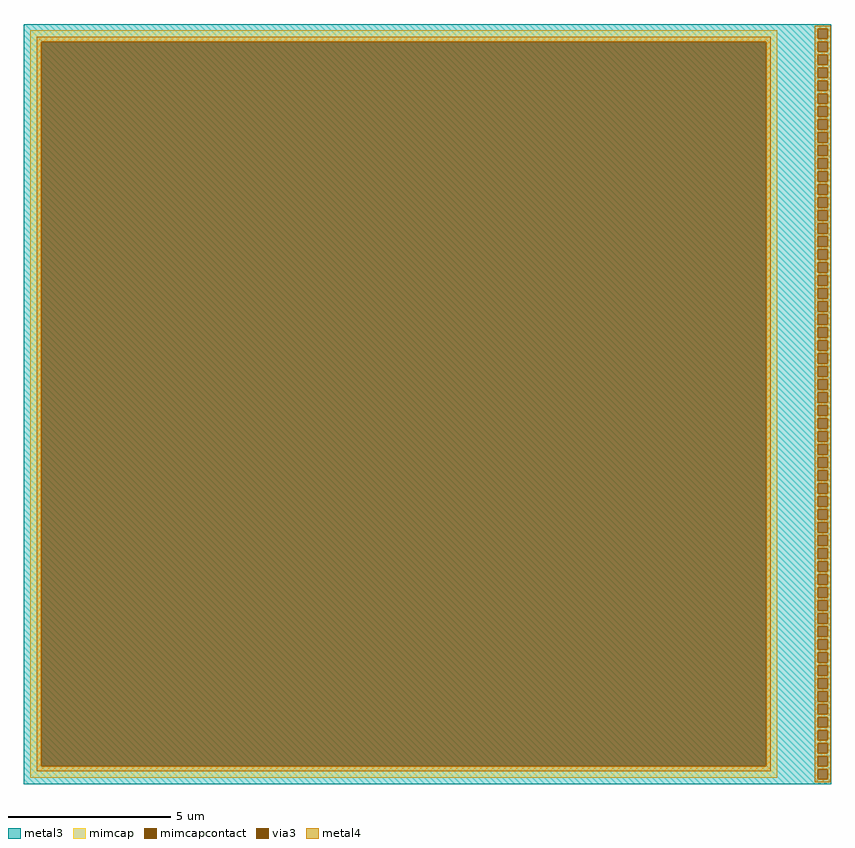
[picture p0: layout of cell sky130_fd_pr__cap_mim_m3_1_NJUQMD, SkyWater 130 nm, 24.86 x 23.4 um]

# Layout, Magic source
magic
tech sky130A
magscale 1 2
<< metal3 >>
rect -2486 2312 2486 2340
rect -2486 2248 2402 2312
rect 2466 2248 2486 2312
rect -2486 2232 2486 2248
rect -2486 2168 2402 2232
rect 2466 2168 2486 2232
rect -2486 2152 2486 2168
rect -2486 2088 2402 2152
rect 2466 2088 2486 2152
rect -2486 2072 2486 2088
rect -2486 2008 2402 2072
rect 2466 2008 2486 2072
rect -2486 1992 2486 2008
rect -2486 1928 2402 1992
rect 2466 1928 2486 1992
rect -2486 1912 2486 1928
rect -2486 1848 2402 1912
rect 2466 1848 2486 1912
rect -2486 1832 2486 1848
rect -2486 1768 2402 1832
rect 2466 1768 2486 1832
rect -2486 1752 2486 1768
rect -2486 1688 2402 1752
rect 2466 1688 2486 1752
rect -2486 1672 2486 1688
rect -2486 1608 2402 1672
rect 2466 1608 2486 1672
rect -2486 1592 2486 1608
rect -2486 1528 2402 1592
rect 2466 1528 2486 1592
rect -2486 1512 2486 1528
rect -2486 1448 2402 1512
rect 2466 1448 2486 1512
rect -2486 1432 2486 1448
rect -2486 1368 2402 1432
rect 2466 1368 2486 1432
rect -2486 1352 2486 1368
rect -2486 1288 2402 1352
rect 2466 1288 2486 1352
rect -2486 1272 2486 1288
rect -2486 1208 2402 1272
rect 2466 1208 2486 1272
rect -2486 1192 2486 1208
rect -2486 1128 2402 1192
rect 2466 1128 2486 1192
rect -2486 1112 2486 1128
rect -2486 1048 2402 1112
rect 2466 1048 2486 1112
rect -2486 1032 2486 1048
rect -2486 968 2402 1032
rect 2466 968 2486 1032
rect -2486 952 2486 968
rect -2486 888 2402 952
rect 2466 888 2486 952
rect -2486 872 2486 888
rect -2486 808 2402 872
rect 2466 808 2486 872
rect -2486 792 2486 808
rect -2486 728 2402 792
rect 2466 728 2486 792
rect -2486 712 2486 728
rect -2486 648 2402 712
rect 2466 648 2486 712
rect -2486 632 2486 648
rect -2486 568 2402 632
rect 2466 568 2486 632
rect -2486 552 2486 568
rect -2486 488 2402 552
rect 2466 488 2486 552
rect -2486 472 2486 488
rect -2486 408 2402 472
rect 2466 408 2486 472
rect -2486 392 2486 408
rect -2486 328 2402 392
rect 2466 328 2486 392
rect -2486 312 2486 328
rect -2486 248 2402 312
rect 2466 248 2486 312
rect -2486 232 2486 248
rect -2486 168 2402 232
rect 2466 168 2486 232
rect -2486 152 2486 168
rect -2486 88 2402 152
rect 2466 88 2486 152
rect -2486 72 2486 88
rect -2486 8 2402 72
rect 2466 8 2486 72
rect -2486 -8 2486 8
rect -2486 -72 2402 -8
rect 2466 -72 2486 -8
rect -2486 -88 2486 -72
rect -2486 -152 2402 -88
rect 2466 -152 2486 -88
rect -2486 -168 2486 -152
rect -2486 -232 2402 -168
rect 2466 -232 2486 -168
rect -2486 -248 2486 -232
rect -2486 -312 2402 -248
rect 2466 -312 2486 -248
rect -2486 -328 2486 -312
rect -2486 -392 2402 -328
rect 2466 -392 2486 -328
rect -2486 -408 2486 -392
rect -2486 -472 2402 -408
rect 2466 -472 2486 -408
rect -2486 -488 2486 -472
rect -2486 -552 2402 -488
rect 2466 -552 2486 -488
rect -2486 -568 2486 -552
rect -2486 -632 2402 -568
rect 2466 -632 2486 -568
rect -2486 -648 2486 -632
rect -2486 -712 2402 -648
rect 2466 -712 2486 -648
rect -2486 -728 2486 -712
rect -2486 -792 2402 -728
rect 2466 -792 2486 -728
rect -2486 -808 2486 -792
rect -2486 -872 2402 -808
rect 2466 -872 2486 -808
rect -2486 -888 2486 -872
rect -2486 -952 2402 -888
rect 2466 -952 2486 -888
rect -2486 -968 2486 -952
rect -2486 -1032 2402 -968
rect 2466 -1032 2486 -968
rect -2486 -1048 2486 -1032
rect -2486 -1112 2402 -1048
rect 2466 -1112 2486 -1048
rect -2486 -1128 2486 -1112
rect -2486 -1192 2402 -1128
rect 2466 -1192 2486 -1128
rect -2486 -1208 2486 -1192
rect -2486 -1272 2402 -1208
rect 2466 -1272 2486 -1208
rect -2486 -1288 2486 -1272
rect -2486 -1352 2402 -1288
rect 2466 -1352 2486 -1288
rect -2486 -1368 2486 -1352
rect -2486 -1432 2402 -1368
rect 2466 -1432 2486 -1368
rect -2486 -1448 2486 -1432
rect -2486 -1512 2402 -1448
rect 2466 -1512 2486 -1448
rect -2486 -1528 2486 -1512
rect -2486 -1592 2402 -1528
rect 2466 -1592 2486 -1528
rect -2486 -1608 2486 -1592
rect -2486 -1672 2402 -1608
rect 2466 -1672 2486 -1608
rect -2486 -1688 2486 -1672
rect -2486 -1752 2402 -1688
rect 2466 -1752 2486 -1688
rect -2486 -1768 2486 -1752
rect -2486 -1832 2402 -1768
rect 2466 -1832 2486 -1768
rect -2486 -1848 2486 -1832
rect -2486 -1912 2402 -1848
rect 2466 -1912 2486 -1848
rect -2486 -1928 2486 -1912
rect -2486 -1992 2402 -1928
rect 2466 -1992 2486 -1928
rect -2486 -2008 2486 -1992
rect -2486 -2072 2402 -2008
rect 2466 -2072 2486 -2008
rect -2486 -2088 2486 -2072
rect -2486 -2152 2402 -2088
rect 2466 -2152 2486 -2088
rect -2486 -2168 2486 -2152
rect -2486 -2232 2402 -2168
rect 2466 -2232 2486 -2168
rect -2486 -2248 2486 -2232
rect -2486 -2312 2402 -2248
rect 2466 -2312 2486 -2248
rect -2486 -2340 2486 -2312
<< via3 >>
rect 2402 2248 2466 2312
rect 2402 2168 2466 2232
rect 2402 2088 2466 2152
rect 2402 2008 2466 2072
rect 2402 1928 2466 1992
rect 2402 1848 2466 1912
rect 2402 1768 2466 1832
rect 2402 1688 2466 1752
rect 2402 1608 2466 1672
rect 2402 1528 2466 1592
rect 2402 1448 2466 1512
rect 2402 1368 2466 1432
rect 2402 1288 2466 1352
rect 2402 1208 2466 1272
rect 2402 1128 2466 1192
rect 2402 1048 2466 1112
rect 2402 968 2466 1032
rect 2402 888 2466 952
rect 2402 808 2466 872
rect 2402 728 2466 792
rect 2402 648 2466 712
rect 2402 568 2466 632
rect 2402 488 2466 552
rect 2402 408 2466 472
rect 2402 328 2466 392
rect 2402 248 2466 312
rect 2402 168 2466 232
rect 2402 88 2466 152
rect 2402 8 2466 72
rect 2402 -72 2466 -8
rect 2402 -152 2466 -88
rect 2402 -232 2466 -168
rect 2402 -312 2466 -248
rect 2402 -392 2466 -328
rect 2402 -472 2466 -408
rect 2402 -552 2466 -488
rect 2402 -632 2466 -568
rect 2402 -712 2466 -648
rect 2402 -792 2466 -728
rect 2402 -872 2466 -808
rect 2402 -952 2466 -888
rect 2402 -1032 2466 -968
rect 2402 -1112 2466 -1048
rect 2402 -1192 2466 -1128
rect 2402 -1272 2466 -1208
rect 2402 -1352 2466 -1288
rect 2402 -1432 2466 -1368
rect 2402 -1512 2466 -1448
rect 2402 -1592 2466 -1528
rect 2402 -1672 2466 -1608
rect 2402 -1752 2466 -1688
rect 2402 -1832 2466 -1768
rect 2402 -1912 2466 -1848
rect 2402 -1992 2466 -1928
rect 2402 -2072 2466 -2008
rect 2402 -2152 2466 -2088
rect 2402 -2232 2466 -2168
rect 2402 -2312 2466 -2248
<< mimcap >>
rect -2446 2232 2154 2300
rect -2446 -2232 -2378 2232
rect 2086 -2232 2154 2232
rect -2446 -2300 2154 -2232
<< mimcapcontact >>
rect -2378 -2232 2086 2232
<< metal4 >>
rect 2386 2312 2482 2328
rect -2407 2232 2115 2261
rect -2407 -2232 -2378 2232
rect 2086 -2232 2115 2232
rect -2407 -2261 2115 -2232
rect 2386 2248 2402 2312
rect 2466 2248 2482 2312
rect 2386 2232 2482 2248
rect 2386 2168 2402 2232
rect 2466 2168 2482 2232
rect 2386 2152 2482 2168
rect 2386 2088 2402 2152
rect 2466 2088 2482 2152
rect 2386 2072 2482 2088
rect 2386 2008 2402 2072
rect 2466 2008 2482 2072
rect 2386 1992 2482 2008
rect 2386 1928 2402 1992
rect 2466 1928 2482 1992
rect 2386 1912 2482 1928
rect 2386 1848 2402 1912
rect 2466 1848 2482 1912
rect 2386 1832 2482 1848
rect 2386 1768 2402 1832
rect 2466 1768 2482 1832
rect 2386 1752 2482 1768
rect 2386 1688 2402 1752
rect 2466 1688 2482 1752
rect 2386 1672 2482 1688
rect 2386 1608 2402 1672
rect 2466 1608 2482 1672
rect 2386 1592 2482 1608
rect 2386 1528 2402 1592
rect 2466 1528 2482 1592
rect 2386 1512 2482 1528
rect 2386 1448 2402 1512
rect 2466 1448 2482 1512
rect 2386 1432 2482 1448
rect 2386 1368 2402 1432
rect 2466 1368 2482 1432
rect 2386 1352 2482 1368
rect 2386 1288 2402 1352
rect 2466 1288 2482 1352
rect 2386 1272 2482 1288
rect 2386 1208 2402 1272
rect 2466 1208 2482 1272
rect 2386 1192 2482 1208
rect 2386 1128 2402 1192
rect 2466 1128 2482 1192
rect 2386 1112 2482 1128
rect 2386 1048 2402 1112
rect 2466 1048 2482 1112
rect 2386 1032 2482 1048
rect 2386 968 2402 1032
rect 2466 968 2482 1032
rect 2386 952 2482 968
rect 2386 888 2402 952
rect 2466 888 2482 952
rect 2386 872 2482 888
rect 2386 808 2402 872
rect 2466 808 2482 872
rect 2386 792 2482 808
rect 2386 728 2402 792
rect 2466 728 2482 792
rect 2386 712 2482 728
rect 2386 648 2402 712
rect 2466 648 2482 712
rect 2386 632 2482 648
rect 2386 568 2402 632
rect 2466 568 2482 632
rect 2386 552 2482 568
rect 2386 488 2402 552
rect 2466 488 2482 552
rect 2386 472 2482 488
rect 2386 408 2402 472
rect 2466 408 2482 472
rect 2386 392 2482 408
rect 2386 328 2402 392
rect 2466 328 2482 392
rect 2386 312 2482 328
rect 2386 248 2402 312
rect 2466 248 2482 312
rect 2386 232 2482 248
rect 2386 168 2402 232
rect 2466 168 2482 232
rect 2386 152 2482 168
rect 2386 88 2402 152
rect 2466 88 2482 152
rect 2386 72 2482 88
rect 2386 8 2402 72
rect 2466 8 2482 72
rect 2386 -8 2482 8
rect 2386 -72 2402 -8
rect 2466 -72 2482 -8
rect 2386 -88 2482 -72
rect 2386 -152 2402 -88
rect 2466 -152 2482 -88
rect 2386 -168 2482 -152
rect 2386 -232 2402 -168
rect 2466 -232 2482 -168
rect 2386 -248 2482 -232
rect 2386 -312 2402 -248
rect 2466 -312 2482 -248
rect 2386 -328 2482 -312
rect 2386 -392 2402 -328
rect 2466 -392 2482 -328
rect 2386 -408 2482 -392
rect 2386 -472 2402 -408
rect 2466 -472 2482 -408
rect 2386 -488 2482 -472
rect 2386 -552 2402 -488
rect 2466 -552 2482 -488
rect 2386 -568 2482 -552
rect 2386 -632 2402 -568
rect 2466 -632 2482 -568
rect 2386 -648 2482 -632
rect 2386 -712 2402 -648
rect 2466 -712 2482 -648
rect 2386 -728 2482 -712
rect 2386 -792 2402 -728
rect 2466 -792 2482 -728
rect 2386 -808 2482 -792
rect 2386 -872 2402 -808
rect 2466 -872 2482 -808
rect 2386 -888 2482 -872
rect 2386 -952 2402 -888
rect 2466 -952 2482 -888
rect 2386 -968 2482 -952
rect 2386 -1032 2402 -968
rect 2466 -1032 2482 -968
rect 2386 -1048 2482 -1032
rect 2386 -1112 2402 -1048
rect 2466 -1112 2482 -1048
rect 2386 -1128 2482 -1112
rect 2386 -1192 2402 -1128
rect 2466 -1192 2482 -1128
rect 2386 -1208 2482 -1192
rect 2386 -1272 2402 -1208
rect 2466 -1272 2482 -1208
rect 2386 -1288 2482 -1272
rect 2386 -1352 2402 -1288
rect 2466 -1352 2482 -1288
rect 2386 -1368 2482 -1352
rect 2386 -1432 2402 -1368
rect 2466 -1432 2482 -1368
rect 2386 -1448 2482 -1432
rect 2386 -1512 2402 -1448
rect 2466 -1512 2482 -1448
rect 2386 -1528 2482 -1512
rect 2386 -1592 2402 -1528
rect 2466 -1592 2482 -1528
rect 2386 -1608 2482 -1592
rect 2386 -1672 2402 -1608
rect 2466 -1672 2482 -1608
rect 2386 -1688 2482 -1672
rect 2386 -1752 2402 -1688
rect 2466 -1752 2482 -1688
rect 2386 -1768 2482 -1752
rect 2386 -1832 2402 -1768
rect 2466 -1832 2482 -1768
rect 2386 -1848 2482 -1832
rect 2386 -1912 2402 -1848
rect 2466 -1912 2482 -1848
rect 2386 -1928 2482 -1912
rect 2386 -1992 2402 -1928
rect 2466 -1992 2482 -1928
rect 2386 -2008 2482 -1992
rect 2386 -2072 2402 -2008
rect 2466 -2072 2482 -2008
rect 2386 -2088 2482 -2072
rect 2386 -2152 2402 -2088
rect 2466 -2152 2482 -2088
rect 2386 -2168 2482 -2152
rect 2386 -2232 2402 -2168
rect 2466 -2232 2482 -2168
rect 2386 -2248 2482 -2232
rect 2386 -2312 2402 -2248
rect 2466 -2312 2482 -2248
rect 2386 -2328 2482 -2312
<< properties >>
string FIXED_BBOX -2486 -2340 2194 2340
<< end >>
